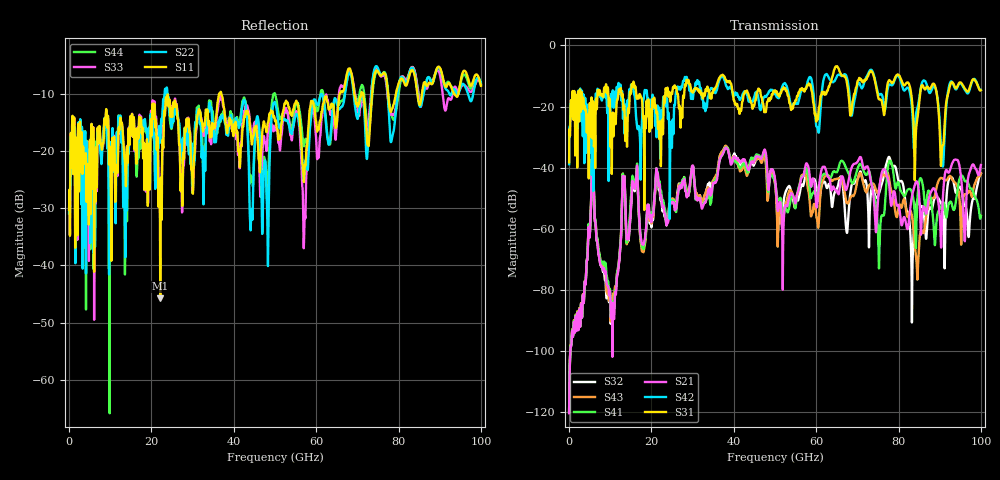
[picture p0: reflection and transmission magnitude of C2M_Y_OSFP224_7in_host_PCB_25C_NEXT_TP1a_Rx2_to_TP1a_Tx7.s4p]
# GHz S RI R 45
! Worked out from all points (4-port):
!   4000 points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, 25 MHz to 100 GHz, reference 45 ohm
!   strongest paths, dB at 25 MHz, 25.02 GHz, 50.02 GHz, 75.03 GHz, 100 GHz:
!     S31: -38.3, -15.9, -14.7, -16.7, -14.7
!     S42: -38.8, -30.3, -16.0, -15.6, -14.6
!     S21: -120.4, -51.3, -43.8, -50.7, -39.1
!     S41: -120.0, -50.7, -44.8, -61.1, -55.7
!     S43: -119.6, -50.1, -45.4, -48.1, -41.8
!     S32: -120.0, -50.4, -44.8, -49.1, -42.0
!   lowest |S11| = -45.8 dB at 22.15 GHz (marker M1), VSWR 1.01, Z = 45.3 - j0.366 ohm
!   |S11| at or under -10 dB: start of sweep to 36.45 GHz; 36.98 GHz to 65.76 GHz (28.78 GHz wide, 56 % of centre); 71.42 GHz to 73.58 GHz (2.161 GHz wide, 2.98 % of centre) (the widest 3 of 8)
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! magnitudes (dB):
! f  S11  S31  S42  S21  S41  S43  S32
! 25 MHz  -30.3  -38.3  -38.8  -120.4  -120.0  -119.6  -120.0
! 5.7 GHz  -24.7  -26.6  -20.8  -37.4  -37.2  -37.3  -37.5
! 10.47 GHz  -18.5  -25.9  -17.4  -89.4  -91.1  -90.9  -91.7
! 22.15 GHz  -45.8  -25.6  -36.9  -48.6  -47.2  -48.5  -50.0
! 77.15 GHz  -8.0  -14.4  -16.4  -42.5  -43.5  -42.0  -38.3
! 84.47 GHz  -9.5  -24.9  -20.9  -44.5  -53.3  -73.3  -51.2
! 100 GHz  -8.6  -14.7  -14.6  -39.1  -55.7  -41.8  -42.0
